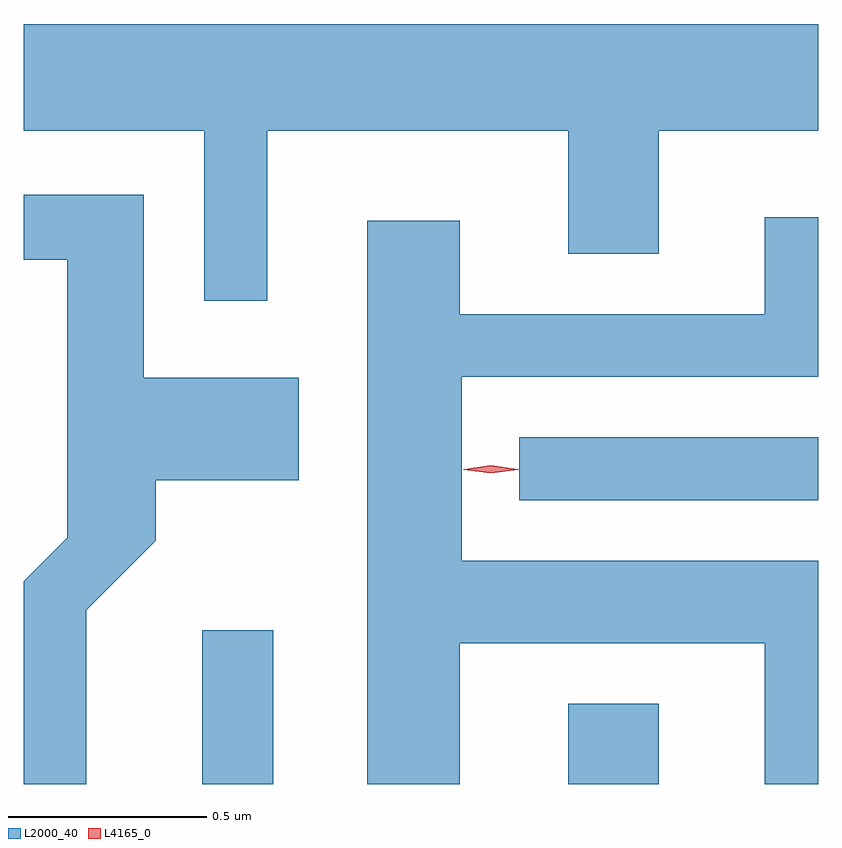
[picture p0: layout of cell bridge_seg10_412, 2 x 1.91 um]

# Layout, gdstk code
import gdstk
lib = gdstk.Library(unit=1e-6, precision=1e-09)
def R(c, l, rs):  # rectangles x0, y0, x1, y1
    for r in rs: c.add(gdstk.rectangle(r[:2], r[2:], *l))
def P(c, l, *ps):  # polygons
    for p in ps: c.add(gdstk.Polygon(p, *l))
L2000_40 = (2000, 40)
L4165_0 = (4165, 0)

bridge_seg10_412 = lib.new_cell('bridge_seg10_412')
R(bridge_seg10_412, L2000_40, [(1363.731,2101.172,1363.909,2101.559), (1364.651,2101.172,1364.879,2101.374), (1364.528,2101.886,1365.281,2102.044)])
P(bridge_seg10_412, L2000_40, [(1363.894,2102.816),(1364.651,2102.816),(1364.651,2102.506),(1364.879,2102.506),(1364.879,2102.816),(1365.281,2102.816),(1365.281,2103.084),(1363.281,2103.084),(1363.281,2102.816),(1363.736,2102.816),(1363.736,2102.388),(1363.894,2102.388)],
  [(1363.439,2101.609),(1363.614,2101.784),(1363.614,2101.936),(1363.974,2101.936),(1363.974,2102.194),(1363.584,2102.194),(1363.584,2102.654),(1363.281,2102.654),(1363.281,2102.491),(1363.391,2102.491),(1363.391,2101.792),(1363.281,2101.682),(1363.281,2101.172),(1363.439,2101.172)],
  [(1364.379,2101.526),(1365.146,2101.526),(1365.146,2101.172),(1365.281,2101.172),(1365.281,2101.734),(1364.384,2101.734),(1364.384,2102.196),(1365.281,2102.196),(1365.281,2102.598),(1365.146,2102.598),(1365.146,2102.354),(1364.379,2102.354),(1364.379,2102.589),(1364.146,2102.589),(1364.146,2101.172),(1364.379,2101.172)])
P(bridge_seg10_412, L4165_0, [(1364.457,2101.954),(1364.388,2101.963),(1364.387,2101.964),(1364.388,2101.964),(1364.457,2101.974),(1364.526,2101.964),(1364.526,2101.964),(1364.526,2101.963)],
  [(1364.456,2101.954),(1364.39,2101.963),(1364.39,2101.964),(1364.39,2101.964),(1364.456,2101.974),(1364.522,2101.964),(1364.523,2101.964),(1364.522,2101.963)])

lib.write_gds('bridge_seg10_412.gds')
